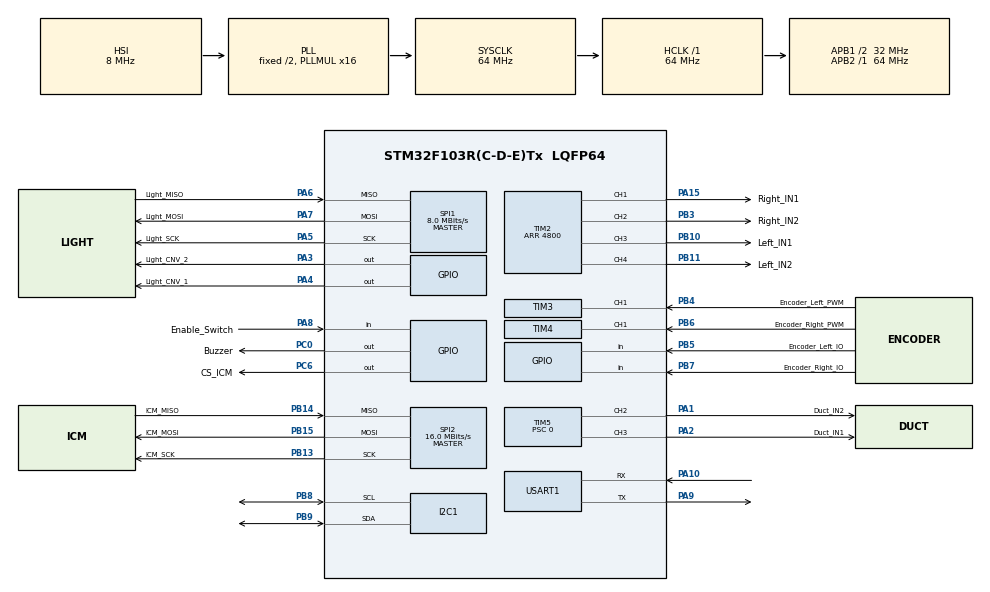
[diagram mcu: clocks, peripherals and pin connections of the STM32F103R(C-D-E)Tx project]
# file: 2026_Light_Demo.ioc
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Dma.Request0=USART1_RX
Dma.USART1_RX.0.Direction=DMA_PERIPH_TO_MEMORY
Dma.USART1_RX.0.Instance=DMA1_Channel5
Dma.USART1_RX.0.MemDataAlignment=DMA_MDATAALIGN_BYTE
Dma.USART1_RX.0.MemInc=DMA_MINC_ENABLE
Dma.USART1_RX.0.Mode=DMA_NORMAL
Dma.USART1_RX.0.PeriphDataAlignment=DMA_PDATAALIGN_BYTE
Dma.USART1_RX.0.PeriphInc=DMA_PINC_DISABLE
Dma.USART1_RX.0.Priority=DMA_PRIORITY_LOW
Mcu.Family=STM32F1
Mcu.Name=STM32F103R(C-D-E)Tx
Mcu.Package=LQFP64
NVIC.DMA1_Channel5_IRQn=true\:0\:0\:false\:false\:true\:false\:true\:true
NVIC.PriorityGroup=NVIC_PRIORITYGROUP_4
NVIC.TIM6_IRQn=true\:0\:0\:false\:false\:true\:true\:true\:true
NVIC.USART1_IRQn=true\:0\:0\:false\:false\:true\:true\:true\:true
PA1.GPIO_Label=Duct_IN2
PA1.Signal=S_TIM5_CH2
PA10.Mode=Asynchronous
PA10.Signal=USART1_RX
PA13.Mode=Serial_Wire
PA13.Signal=SYS_JTMS-SWDIO
PA14.Mode=Serial_Wire
PA14.Signal=SYS_JTCK-SWCLK
PA15.GPIO_Label=Right_IN1
PA15.Signal=S_TIM2_CH1_ETR
PA2.GPIO_Label=Duct_IN1
PA2.Signal=S_TIM5_CH3
PA3.GPIO_Label=Light_CNV_2
PA3.Signal=GPIO_Output
PA4.GPIO_Label=Light_CNV_1
PA4.Signal=GPIO_Output
PA5.GPIO_Label=Light_SCK
PA5.Mode=Full_Duplex_Master
PA5.Signal=SPI1_SCK
PA6.GPIO_Label=Light_MISO
PA6.Mode=Full_Duplex_Master
PA6.Signal=SPI1_MISO
PA7.GPIO_Label=Light_MOSI
PA7.Mode=Full_Duplex_Master
PA7.Signal=SPI1_MOSI
PA8.GPIO_Label=Enable_Switch
PA8.Signal=GPIO_Input
PA9.Mode=Asynchronous
PA9.Signal=USART1_TX
PB10.GPIO_Label=Left_IN1
PB10.Signal=S_TIM2_CH3
PB11.GPIO_Label=Left_IN2
PB11.Signal=S_TIM2_CH4
PB13.GPIO_Label=ICM_SCK
PB13.Mode=Full_Duplex_Master
PB13.Signal=SPI2_SCK
PB14.GPIO_Label=ICM_MISO
PB14.Mode=Full_Duplex_Master
PB14.Signal=SPI2_MISO
PB15.GPIO_Label=ICM_MOSI
PB15.Mode=Full_Duplex_Master
PB15.Signal=SPI2_MOSI
PB3.GPIO_Label=Right_IN2
PB3.Signal=S_TIM2_CH2
PB4.GPIO_Label=Encoder_Left_PWM
PB4.Signal=S_TIM3_CH1
PB5.GPIO_Label=Encoder_Left_IO
PB5.Signal=GPIO_Input
PB6.GPIO_Label=Encoder_Right_PWM
PB6.Signal=S_TIM4_CH1
PB7.GPIO_Label=Encoder_Right_IO
PB7.Signal=GPIO_Input
PB8.Mode=I2C
PB8.Signal=I2C1_SCL
PB9.Mode=I2C
PB9.Signal=I2C1_SDA
PC0.GPIO_Label=Buzzer
PC0.Signal=GPIO_Output
PC6.GPIO_Label=CS_ICM
PC6.Signal=GPIO_Output
ProjectManager.HeapSize=0x200
ProjectManager.StackSize=0x400
ProjectManager.TargetToolchain=MDK-ARM V5.32
RCC.AHBFreq_Value=64000000
RCC.APB1CLKDivider=RCC_HCLK_DIV2
RCC.APB1Freq_Value=32000000
RCC.APB1TimFreq_Value=64000000
RCC.APB2Freq_Value=64000000
RCC.APB2TimFreq_Value=64000000
RCC.HCLKFreq_Value=64000000
RCC.PLLMUL=RCC_PLL_MUL16
RCC.SYSCLKFreq_VALUE=64000000
RCC.SYSCLKSource=RCC_SYSCLKSOURCE_PLLCLK
RCC.USBFreq_Value=64000000
SH.S_TIM2_CH1_ETR.0=TIM2_CH1,PWM Generation1 CH1
SH.S_TIM2_CH2.0=TIM2_CH2,PWM Generation2 CH2
SH.S_TIM2_CH3.0=TIM2_CH3,PWM Generation3 CH3
SH.S_TIM2_CH4.0=TIM2_CH4,PWM Generation4 CH4
SH.S_TIM3_CH1.0=TIM3_CH1,TriggerSource_TI1FP1
SH.S_TIM4_CH1.0=TIM4_CH1,TriggerSource_TI1FP1
SH.S_TIM5_CH2.0=TIM5_CH2,PWM Generation2 CH2
SH.S_TIM5_CH3.0=TIM5_CH3,PWM Generation3 CH3
SPI1.BaudRatePrescaler=SPI_BAUDRATEPRESCALER_8
SPI1.CalculateBaudRate=8.0 MBits/s
SPI1.DataSize=SPI_DATASIZE_16BIT
SPI1.Direction=SPI_DIRECTION_2LINES
SPI1.Mode=SPI_MODE_MASTER
SPI1.VirtualType=VM_MASTER
SPI2.CalculateBaudRate=16.0 MBits/s
SPI2.Direction=SPI_DIRECTION_2LINES
SPI2.Mode=SPI_MODE_MASTER
SPI2.VirtualType=VM_MASTER
TIM2.AutoReloadPreload=TIM_AUTORELOAD_PRELOAD_ENABLE
TIM2.Channel-PWM\ Generation1\ CH1=TIM_CHANNEL_1
TIM2.Channel-PWM\ Generation2\ CH2=TIM_CHANNEL_2
TIM2.Channel-PWM\ Generation3\ CH3=TIM_CHANNEL_3
TIM2.Channel-PWM\ Generation4\ CH4=TIM_CHANNEL_4
TIM2.Period=4800
TIM3.Prescaler=0
TIM3.Slave_TriggerFilter=15
TIM4.Prescaler=0
TIM4.Slave_TriggerFilter=15
TIM5.AutoReloadPreload=TIM_AUTORELOAD_PRELOAD_ENABLE
TIM5.Channel-PWM\ Generation2\ CH2=TIM_CHANNEL_2
TIM5.Channel-PWM\ Generation3\ CH3=TIM_CHANNEL_3
TIM5.Period=4800
TIM5.Prescaler=0
TIM6.AutoReloadPreload=TIM_AUTORELOAD_PRELOAD_ENABLE
TIM6.Period=3000-1
TIM6.Prescaler=72-1
TIM7.AutoReloadPreload=TIM_AUTORELOAD_PRELOAD_DISABLE
TIM7.Period=65535
TIM7.Prescaler=64-1
USART1.VirtualMode=VM_ASYNC
VP_TIM2_VS_ClockSourceINT.Mode=Internal
VP_TIM3_VS_ControllerModeClock.Mode=Clock Mode
VP_TIM4_VS_ControllerModeClock.Mode=Clock Mode
VP_TIM5_VS_ClockSourceINT.Mode=Internal
VP_TIM6_VS_ClockSourceINT.Mode=Enable_Timer
VP_TIM7_VS_ClockSourceINT.Mode=Enable_Timer
board=custom

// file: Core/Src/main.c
/* USER CODE BEGIN Header */
/**
  ******************************************************************************
  * @file           : main.c
  * @brief          : Main program body
  ******************************************************************************
  * @attention
  *
  * Copyright (c) 2025 STMicroelectronics.
  * All rights reserved.
  *
  * This software is licensed under terms that can be found in the LICENSE file
  * in the root directory of this software component.
  * If no LICENSE file comes with this software, it is provided AS-IS.
  *
  ******************************************************************************
  */
/* USER CODE END Header */
#include "main.h"
#include "dma.h"
#include "i2c.h"
#include "spi.h"
#include "tim.h"
#include "usart.h"
#include "gpio.h"
#include "fun.h"
/* USER CODE BEGIN Includes */
#include "headfiles.h"
/* USER CODE END Includes */

/* USER CODE BEGIN PV */
int Left_Light[8] = {0};
int Right_Light[8] = {0};

/* USER CODE END PV */

void SystemClock_Config(void);

/* USER CODE BEGIN 0 */

int fputc(int ch, FILE *f)
{
    HAL_UART_Transmit(&huart1, (uint8_t *)&ch, 1, 10);
    return ch;
}

void SystemInit()
{
//do nothing
}

uint32_t SystemCoreClock;
const uint8_t  AHBPrescTable[16U];
const uint8_t  APBPrescTable[8U];
/* USER CODE END 0 */

int main(void)
{

  /* MCU Configuration--------------------------------------------------------*/

  /* Reset of all peripherals, Initializes the Flash interface and the Systick. */
  HAL_Init();

  /* Configure the system clock */
  SystemClock_Config();

  /* Initialize all configured peripherals */
  MX_GPIO_Init();
  MX_DMA_Init();
  MX_SPI1_Init();
  MX_TIM2_Init();
  MX_TIM3_Init();
  MX_USART1_UART_Init();
  MX_SPI2_Init();
  MX_TIM5_Init();
  MX_TIM7_Init();
  MX_TIM6_Init();
  MX_TIM4_Init();
  MX_I2C1_Init();
  /* USER CODE BEGIN 2 */

  // 外设初始化
  Motor_Init();
  Encodeer_Init();
  AD7689_Left_Init();
  AD7689_Right_Init();
  //bsp_dwt_init();

  // 键显输参
  OLED_Init();
  Oled_Input();
  Oled_Data_Load();

  // 启动流程：陀螺仪零漂校准 -> 扫线调阈值 -> 观察 -> 开负压 -> 延时后允许运行
  Start();
  /* USER CODE END 2 */

  /* Infinite loop */
  while (1)
  {

    /* USER CODE BEGIN 3 */
//	Oled_Show();
//    VOFA_JustFloat(&huart      // 串口发送
    HAL_Delay(5);
  }
  /* USER CODE END 3 */
}

void SystemClock_Config(void)
{
  RCC_OscInitTypeDef RCC_OscInitStruct = {0};
  RCC_ClkInitTypeDef RCC_ClkInitStruct = {0};

  /** Initializes the RCC Oscillators according to the specified parameters
  * in the RCC_OscInitTypeDef structure.
  */
  RCC_OscInitStruct.OscillatorType = RCC_OSCILLATORTYPE_HSI;
  RCC_OscInitStruct.HSIState = RCC_HSI_ON;
  RCC_OscInitStruct.HSICalibrationValue = RCC_HSICALIBRATION_DEFAULT;
  RCC_OscInitStruct.PLL.PLLState = RCC_PLL_ON;
  RCC_OscInitStruct.PLL.PLLSource = RCC_PLLSOURCE_HSI_DIV2;
  RCC_OscInitStruct.PLL.PLLMUL = RCC_PLL_MUL16;
  if (HAL_RCC_OscConfig(&RCC_OscInitStruct) != HAL_OK)
  {
    Error_Handler();
  }

  /** Initializes the CPU, AHB and APB buses clocks
  */
  RCC_ClkInitStruct.ClockType = RCC_CLOCKTYPE_HCLK|RCC_CLOCKTYPE_SYSCLK
                              |RCC_CLOCKTYPE_PCLK1|RCC_CLOCKTYPE_PCLK2;
  RCC_ClkInitStruct.SYSCLKSource = RCC_SYSCLKSOURCE_PLLCLK;
  RCC_ClkInitStruct.AHBCLKDivider = RCC_SYSCLK_DIV1;
  RCC_ClkInitStruct.APB1CLKDivider = RCC_HCLK_DIV2;
  RCC_ClkInitStruct.APB2CLKDivider = RCC_HCLK_DIV1;

  if (HAL_RCC_ClockConfig(&RCC_ClkInitStruct, FLASH_LATENCY_2) != HAL_OK)
  {
    Error_Handler();
  }
}

/* USER CODE BEGIN 4 */
void HAL_TIM_PeriodElapsedCallback(TIM_HandleTypeDef *htim)
{
	if (htim == &htim6)
	{
		AD7689_Left_Read(Left_Light);
		filt_scale_20000(Left_Light, filt_L_Correct);
		AD7689_Right_Read(Right_Light);
		filt_scale_20000(Right_Light, filt_R_Correct);
		if(dust_Flag)
		{
			// 风扇
			PWM_SetDuty(Duct_IN1, 800 - dust_exp);
			PWM_SetDuty(Duct_IN2, 800);
		}
		if(Start_Flag)
		{
			Car_Go();
		}
	}
}
/* USER CODE END 4 */

void Error_Handler(void)
{
  __disable_irq();
  while (1)
  {
  }
}
